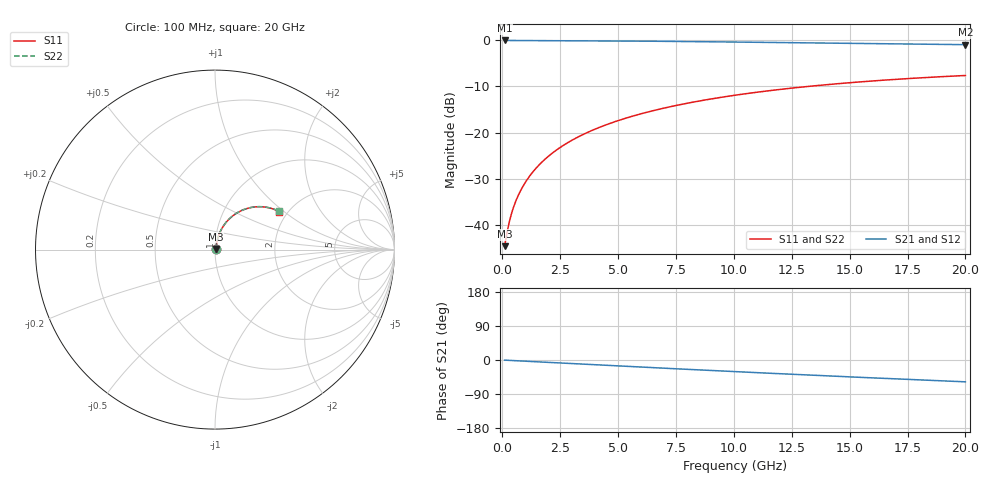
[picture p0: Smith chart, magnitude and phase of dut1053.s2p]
! Touchstone file exported from HFSS 2026.1.0
!  File:  C:/ffzhzh/LocalFiles/Ansys_Project_Files/temp_train_BSMRDL_1053_1783173970_18472.aedt
!  Generated:  10:07:38 PM Jul  4, 2026
!  Design:  BSMRDL
!  Project:  temp_train_BSMRDL_1053_1783173970_18472
! Variables:
!  h_bsmrdl = 2.53um
!  h_ox = 20um
!  h_rdl = 5um
!  h_sub = 80um
!  h_tmrdl = 5um
!  h_tsv = 80um
!  h_via = 3um
!  l_bsmrdl = 917.7um
!  l_sub = 1317.7um
!  l_tmrdl = 200um
!  m_sub = 200um
!  pitch = 48.71um
!  r_tsv = 6um
!  s_tmrdl = 10um
!  w_bsmrdl = 27.34um
!  w_sub = 500um
!  w_tmrdl = 12um
!  x_tsv_center1 = 206um
!  x_tsv_center2 = 1151.04um
!  x_tsv_center3 = 1363.04um
!  x_tsv_center4 = 2308.08um
!  x_tsv_center5 = 2520.08um
!  x_tsv_center6 = 3465.12um
# GHz S MA R 50.000000
! Terminal data exported
! Port[1] = BSM_RDL1_1_T1
! Port[2] = BSM_RDL1_1_T2
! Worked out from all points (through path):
!   200 points, 100 MHz to 20 GHz, reference 50 ohm
!   highest |S21| = -0.04 dB at 100 MHz (marker M1); lowest = -1.0 dB at 20 GHz (marker M2)
!   group delay of S21, straight-line fit = 8.01 ps
!   lowest |S11| = -44.6 dB at 100 MHz (marker M3), VSWR 1.01, Z = 50.5 + j0.32 ohm
!   |S11| at or under -10 dB: start of sweep to 13.19 GHz
!   |S22| runs from -44.6 to -7.6 dB; largest |S21 - S12| = 8.7e-15
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0.1  0.005916 32.4  0.995 -0.3  0.995 -0.3  0.005916 32.4
! Gamma 0 0 0 0
! Port Impedance 50 0 50 0
0.2  0.008176 49.7  0.9948 -0.7  0.9948 -0.7  0.008176 49.7
0.3  0.01077 58.2  0.9944 -1.0  0.9944 -1.0  0.01077 58.2
0.4  0.0134 63.0  0.9941 -1.3  0.9941 -1.3  0.0134 63.1
0.5  0.01602 66.2  0.9939 -1.6  0.9939 -1.6  0.01602 66.2
0.6  0.01863 68.5  0.9936 -1.9  0.9936 -1.9  0.01863 68.5
0.8  0.02385 71.6  0.9932 -2.6  0.9932 -2.6  0.02385 71.6
1.1  0.03176 74.2  0.9928 -3.5  0.9928 -3.5  0.03176 74.3
1.3  0.03707 75.2  0.9925 -4.1  0.9925 -4.1  0.03707 75.2
1.6  0.04508 76.0  0.9921 -5.1  0.9921 -5.1  0.04508 76.1
2.1  0.05849 76.4  0.9912 -6.6  0.9912 -6.6  0.0585 76.4
2.7  0.07458 75.9  0.9899 -8.5  0.9899 -8.5  0.07459 75.9
3.5  0.09589 74.5  0.9878 -11.0  0.9878 -11.0  0.09589 74.5
4.2  0.1143 72.9  0.9856 -13.1  0.9856 -13.1  0.1143 72.9
5  0.135 70.9  0.9827 -15.6  0.9827 -15.6  0.135 70.9
5.9  0.1578 68.5  0.9789 -18.3  0.9789 -18.3  0.1578 68.6
6.8  0.18 66.0  0.9747 -21.1  0.9747 -21.1  0.18 66.1
8.3  0.2155 61.9  0.9668 -25.5  0.9668 -25.5  0.2155 61.9
10.1  0.2553 56.8  0.9563 -30.8  0.9563 -30.8  0.2553 56.9
13.4  0.3199 47.7  0.9355 -40.1  0.9355 -40.1  0.32 47.8
16.7  0.3733 39.0  0.9149 -49.1  0.9149 -49.1  0.3734 39.1
20  0.4157 30.7  0.8962 -57.6  0.8962 -57.6  0.4158 30.8
